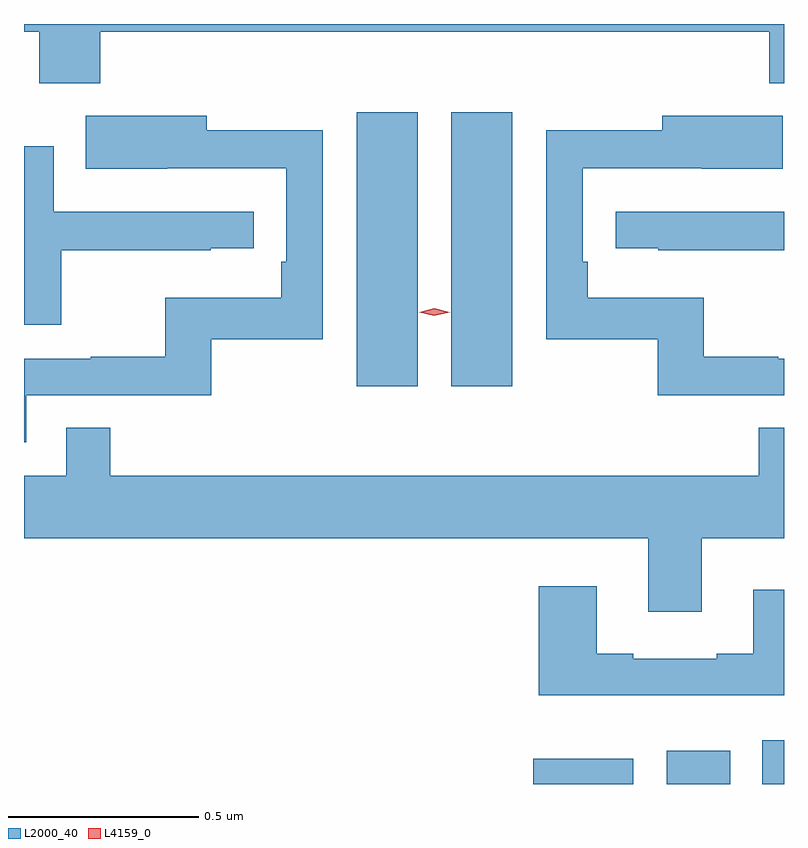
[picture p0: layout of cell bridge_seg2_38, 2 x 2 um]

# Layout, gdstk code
import gdstk
lib = gdstk.Library(unit=1e-6, precision=1e-09)
def R(c, l, rs):  # rectangles x0, y0, x1, y1
    for r in rs: c.add(gdstk.rectangle(r[:2], r[2:], *l))
def P(c, l, *ps):  # polygons
    for p in ps: c.add(gdstk.Polygon(p, *l))
L2000_40 = (2000, 40)
L4159_0 = (4159, 0)

bridge_seg2_38 = lib.new_cell('bridge_seg2_38')
R(bridge_seg2_38, L2000_40, [(1069.112,615.021,1069.375,615.088), (1069.463,615.021,1069.63,615.109), (1069.715,615.021,1069.772,615.136), (1068.647,616.068,1068.808,616.789), (1068.896,616.068,1069.057,616.789)])
P(bridge_seg2_38, L2000_40, [(1067.972,617),(1069.733,617),(1069.733,616.865),(1069.772,616.865),(1069.772,617.021),(1067.772,617.021),(1067.772,617),(1067.812,617),(1067.812,616.865),(1067.972,616.865)],
  [(1067.778,616.044),(1068.265,616.044),(1068.265,616.191),(1068.558,616.191),(1068.558,616.742),(1068.253,616.742),(1068.253,616.78),(1067.935,616.78),(1067.935,616.64),(1068.149,616.64),(1068.149,616.641),(1068.462,616.641),(1068.462,616.396),(1068.449,616.396),(1068.449,616.3),(1068.144,616.3),(1068.144,616.145),(1067.947,616.145),(1067.947,616.14),(1067.772,616.14),(1067.772,615.921),(1067.778,615.921)],
  [(1069.772,616.14),(1069.757,616.14),(1069.757,616.145),(1069.561,616.145),(1069.561,616.3),(1069.256,616.3),(1069.256,616.396),(1069.242,616.396),(1069.242,616.641),(1069.555,616.641),(1069.555,616.64),(1069.769,616.64),(1069.769,616.78),(1069.451,616.78),(1069.451,616.742),(1069.146,616.742),(1069.146,616.191),(1069.44,616.191),(1069.44,616.044),(1069.772,616.044)],
  [(1067.87,616.426),(1068.263,616.426),(1068.263,616.431),(1068.376,616.431),(1068.376,616.527),(1067.85,616.527),(1067.85,616.699),(1067.772,616.699),(1067.772,616.23),(1067.87,616.23)],
  [(1069.772,616.527),(1069.329,616.527),(1069.329,616.431),(1069.441,616.431),(1069.441,616.426),(1069.772,616.426)],
  [(1069.555,615.668),(1069.772,615.668),(1069.772,615.959),(1069.705,615.959),(1069.705,615.832),(1067.999,615.832),(1067.999,615.959),(1067.883,615.959),(1067.883,615.832),(1067.772,615.832),(1067.772,615.668),(1069.415,615.668),(1069.415,615.474),(1069.555,615.474)],
  [(1069.772,615.532),(1069.691,615.532),(1069.691,615.364),(1069.595,615.364),(1069.595,615.351),(1069.375,615.351),(1069.375,615.364),(1069.279,615.364),(1069.279,615.541),(1069.127,615.541),(1069.127,615.254),(1069.772,615.254)])
P(bridge_seg2_38, L4159_0, [(1068.852,616.253),(1068.812,616.262),(1068.812,616.263),(1068.812,616.263),(1068.852,616.273),(1068.892,616.263),(1068.892,616.263),(1068.892,616.262)])

lib.write_gds('bridge_seg2_38.gds')
